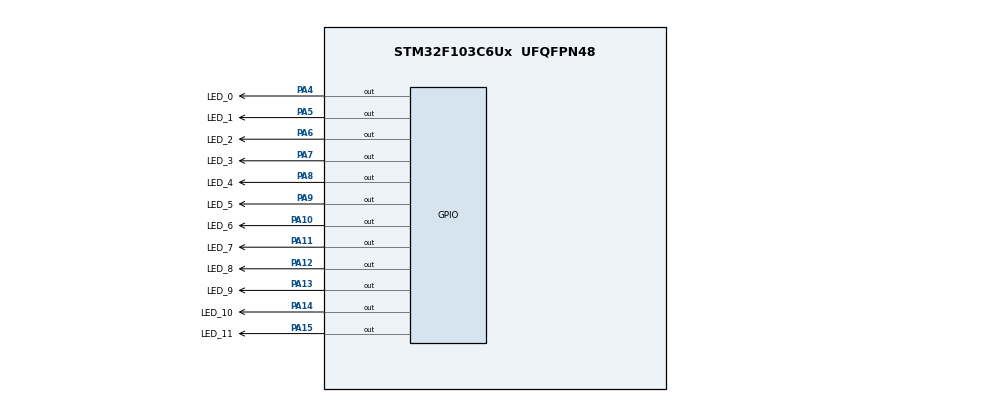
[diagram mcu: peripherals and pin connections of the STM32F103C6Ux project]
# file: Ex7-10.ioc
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Mcu.Family=STM32F1
Mcu.Name=STM32F103C6Ux
Mcu.Package=UFQFPN48
NVIC.PriorityGroup=NVIC_PRIORITYGROUP_4
PA10.GPIO_Label=LED_6
PA10.Signal=GPIO_Output
PA11.GPIO_Label=LED_7
PA11.Signal=GPIO_Output
PA12.GPIO_Label=LED_8
PA12.Signal=GPIO_Output
PA13.GPIO_Label=LED_9
PA13.Signal=GPIO_Output
PA14.GPIO_Label=LED_10
PA14.Signal=GPIO_Output
PA15.GPIO_Label=LED_11
PA15.Signal=GPIO_Output
PA4.GPIO_Label=LED_0
PA4.Signal=GPIO_Output
PA5.GPIO_Label=LED_1
PA5.Signal=GPIO_Output
PA6.GPIO_Label=LED_2
PA6.Signal=GPIO_Output
PA7.GPIO_Label=LED_3
PA7.Signal=GPIO_Output
PA8.GPIO_Label=LED_4
PA8.Signal=GPIO_Output
PA9.GPIO_Label=LED_5
PA9.Signal=GPIO_Output
ProjectManager.HeapSize=0x200
ProjectManager.StackSize=0x400
ProjectManager.TargetToolchain=STM32CubeIDE
RCC.APB1Freq_Value=8000000
RCC.APB2Freq_Value=8000000
VP_SYS_VS_ND.Mode=No_Debug
board=custom

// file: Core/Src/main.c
/* USER CODE BEGIN Header */
/**
  ******************************************************************************
  * @file           : main.c
  * @brief          : Main program body
  ******************************************************************************
  * @attention
  *
  * <h2><center>&copy; Copyright (c) 2024 STMicroelectronics.
  * All rights reserved.</center></h2>
  *
  * This software component is licensed by ST under BSD 3-Clause license,
  * the "License"; You may not use this file except in compliance with the
  * License. You may obtain a copy of the License at:
  *                        opensource.org/licenses/BSD-3-Clause
  *
  ******************************************************************************
  */
/* USER CODE END Header */
#include "main.h"

void SystemClock_Config(void);
static void MX_GPIO_Init(void);

/* USER CODE BEGIN 0 */
void displayHour(int num){
	switch(num){
	case 0:
		HAL_GPIO_WritePin(LED_0_GPIO_Port, LED_0_Pin, GPIO_PIN_RESET);
		HAL_GPIO_WritePin(LED_1_GPIO_Port, LED_1_Pin, GPIO_PIN_SET);
		HAL_GPIO_WritePin(LED_2_GPIO_Port, LED_2_Pin, GPIO_PIN_SET);
		HAL_GPIO_WritePin(LED_3_GPIO_Port, LED_3_Pin, GPIO_PIN_SET);
		HAL_GPIO_WritePin(LED_4_GPIO_Port, LED_4_Pin, GPIO_PIN_SET);
		HAL_GPIO_WritePin(LED_5_GPIO_Port, LED_5_Pin, GPIO_PIN_SET);
		HAL_GPIO_WritePin(LED_6_GPIO_Port, LED_6_Pin, GPIO_PIN_SET);
		HAL_GPIO_WritePin(LED_7_GPIO_Port, LED_7_Pin, GPIO_PIN_SET);
		HAL_GPIO_WritePin(LED_8_GPIO_Port, LED_8_Pin, GPIO_PIN_SET);
		HAL_GPIO_WritePin(LED_9_GPIO_Port, LED_9_Pin, GPIO_PIN_SET);
		HAL_GPIO_WritePin(LED_10_GPIO_Port, LED_10_Pin, GPIO_PIN_SET);
		HAL_GPIO_WritePin(LED_11_GPIO_Port, LED_11_Pin, GPIO_PIN_SET);
		break;
	case 1:
		HAL_GPIO_WritePin(LED_0_GPIO_Port, LED_0_Pin, GPIO_PIN_SET);
		HAL_GPIO_WritePin(LED_1_GPIO_Port, LED_1_Pin, GPIO_PIN_RESET);
		HAL_GPIO_WritePin(LED_2_GPIO_Port, LED_2_Pin, GPIO_PIN_SET);
		HAL_GPIO_WritePin(LED_3_GPIO_Port, LED_3_Pin, GPIO_PIN_SET);
		HAL_GPIO_WritePin(LED_4_GPIO_Port, LED_4_Pin, GPIO_PIN_SET);
		HAL_GPIO_WritePin(LED_5_GPIO_Port, LED_5_Pin, GPIO_PIN_SET);
		HAL_GPIO_WritePin(LED_6_GPIO_Port, LED_6_Pin, GPIO_PIN_SET);
		HAL_GPIO_WritePin(LED_7_GPIO_Port, LED_7_Pin, GPIO_PIN_SET);
		HAL_GPIO_WritePin(LED_8_GPIO_Port, LED_8_Pin, GPIO_PIN_SET);
		HAL_GPIO_WritePin(LED_9_GPIO_Port, LED_9_Pin, GPIO_PIN_SET);
		HAL_GPIO_WritePin(LED_10_GPIO_Port, LED_10_Pin, GPIO_PIN_SET);
		HAL_GPIO_WritePin(LED_11_GPIO_Port, LED_11_Pin, GPIO_PIN_SET);
		break;
	case 2:
		HAL_GPIO_WritePin(LED_0_GPIO_Port, LED_0_Pin, GPIO_PIN_SET);
		HAL_GPIO_WritePin(LED_1_GPIO_Port, LED_1_Pin, GPIO_PIN_SET);
		HAL_GPIO_WritePin(LED_2_GPIO_Port, LED_2_Pin, GPIO_PIN_RESET);
		HAL_GPIO_WritePin(LED_3_GPIO_Port, LED_3_Pin, GPIO_PIN_SET);
		HAL_GPIO_WritePin(LED_4_GPIO_Port, LED_4_Pin, GPIO_PIN_SET);
		HAL_GPIO_WritePin(LED_5_GPIO_Port, LED_5_Pin, GPIO_PIN_SET);
		HAL_GPIO_WritePin(LED_6_GPIO_Port, LED_6_Pin, GPIO_PIN_SET);
		HAL_GPIO_WritePin(LED_7_GPIO_Port, LED_7_Pin, GPIO_PIN_SET);
		HAL_GPIO_WritePin(LED_8_GPIO_Port, LED_8_Pin, GPIO_PIN_SET);
		HAL_GPIO_WritePin(LED_9_GPIO_Port, LED_9_Pin, GPIO_PIN_SET);
		HAL_GPIO_WritePin(LED_10_GPIO_Port, LED_10_Pin, GPIO_PIN_SET);
		HAL_GPIO_WritePin(LED_11_GPIO_Port, LED_11_Pin, GPIO_PIN_SET);
		break;
	case 3:
		HAL_GPIO_WritePin(LED_0_GPIO_Port, LED_0_Pin, GPIO_PIN_SET);
		HAL_GPIO_WritePin(LED_1_GPIO_Port, LED_1_Pin, GPIO_PIN_SET);
		HAL_GPIO_WritePin(LED_2_GPIO_Port, LED_2_Pin, GPIO_PIN_SET);
		HAL_GPIO_WritePin(LED_3_GPIO_Port, LED_3_Pin, GPIO_PIN_RESET);
		HAL_GPIO_WritePin(LED_4_GPIO_Port, LED_4_Pin, GPIO_PIN_SET);
		HAL_GPIO_WritePin(LED_5_GPIO_Port, LED_5_Pin, GPIO_PIN_SET);
		HAL_GPIO_WritePin(LED_6_GPIO_Port, LED_6_Pin, GPIO_PIN_SET);
		HAL_GPIO_WritePin(LED_7_GPIO_Port, LED_7_Pin, GPIO_PIN_SET);
		HAL_GPIO_WritePin(LED_8_GPIO_Port, LED_8_Pin, GPIO_PIN_SET);
		HAL_GPIO_WritePin(LED_9_GPIO_Port, LED_9_Pin, GPIO_PIN_SET);
		HAL_GPIO_WritePin(LED_10_GPIO_Port, LED_10_Pin, GPIO_PIN_SET);
		HAL_GPIO_WritePin(LED_11_GPIO_Port, LED_11_Pin, GPIO_PIN_SET);
		break;
	case 4:
		HAL_GPIO_WritePin(LED_0_GPIO_Port, LED_0_Pin, GPIO_PIN_SET);
		HAL_GPIO_WritePin(LED_1_GPIO_Port, LED_1_Pin, GPIO_PIN_SET);
		HAL_GPIO_WritePin(LED_2_GPIO_Port, LED_2_Pin, GPIO_PIN_SET);
		HAL_GPIO_WritePin(LED_3_GPIO_Port, LED_3_Pin, GPIO_PIN_SET);
		HAL_GPIO_WritePin(LED_4_GPIO_Port, LED_4_Pin, GPIO_PIN_RESET);
		HAL_GPIO_WritePin(LED_5_GPIO_Port, LED_5_Pin, GPIO_PIN_SET);
		HAL_GPIO_WritePin(LED_6_GPIO_Port, LED_6_Pin, GPIO_PIN_SET);
		HAL_GPIO_WritePin(LED_7_GPIO_Port, LED_7_Pin, GPIO_PIN_SET);
		HAL_GPIO_WritePin(LED_8_GPIO_Port, LED_8_Pin, GPIO_PIN_SET);
		HAL_GPIO_WritePin(LED_9_GPIO_Port, LED_9_Pin, GPIO_PIN_SET);
		HAL_GPIO_WritePin(LED_10_GPIO_Port, LED_10_Pin, GPIO_PIN_SET);
		HAL_GPIO_WritePin(LED_11_GPIO_Port, LED_11_Pin, GPIO_PIN_SET);
		break;
	case 5:
		HAL_GPIO_WritePin(LED_0_GPIO_Port, LED_0_Pin, GPIO_PIN_SET);
		HAL_GPIO_WritePin(LED_1_GPIO_Port, LED_1_Pin, GPIO_PIN_SET);
		HAL_GPIO_WritePin(LED_2_GPIO_Port, LED_2_Pin, GPIO_PIN_SET);
		HAL_GPIO_WritePin(LED_3_GPIO_Port, LED_3_Pin, GPIO_PIN_SET);
		HAL_GPIO_WritePin(LED_4_GPIO_Port, LED_4_Pin, GPIO_PIN_SET);
		HAL_GPIO_WritePin(LED_5_GPIO_Port, LED_5_Pin, GPIO_PIN_RESET);
		HAL_GPIO_WritePin(LED_6_GPIO_Port, LED_6_Pin, GPIO_PIN_SET);
		HAL_GPIO_WritePin(LED_7_GPIO_Port, LED_7_Pin, GPIO_PIN_SET);
		HAL_GPIO_WritePin(LED_8_GPIO_Port, LED_8_Pin, GPIO_PIN_SET);
		HAL_GPIO_WritePin(LED_9_GPIO_Port, LED_9_Pin, GPIO_PIN_SET);
		HAL_GPIO_WritePin(LED_10_GPIO_Port, LED_10_Pin, GPIO_PIN_SET);
		HAL_GPIO_WritePin(LED_11_GPIO_Port, LED_11_Pin, GPIO_PIN_SET);
		break;
	case 6:
		HAL_GPIO_WritePin(LED_0_GPIO_Port, LED_0_Pin, GPIO_PIN_SET);
		HAL_GPIO_WritePin(LED_1_GPIO_Port, LED_1_Pin, GPIO_PIN_SET);
		HAL_GPIO_WritePin(LED_2_GPIO_Port, LED_2_Pin, GPIO_PIN_SET);
		HAL_GPIO_WritePin(LED_3_GPIO_Port, LED_3_Pin, GPIO_PIN_SET);
		HAL_GPIO_WritePin(LED_4_GPIO_Port, LED_4_Pin, GPIO_PIN_SET);
		HAL_GPIO_WritePin(LED_5_GPIO_Port, LED_5_Pin, GPIO_PIN_SET);
		HAL_GPIO_WritePin(LED_6_GPIO_Port, LED_6_Pin, GPIO_PIN_RESET);
		HAL_GPIO_WritePin(LED_7_GPIO_Port, LED_7_Pin, GPIO_PIN_SET);
		HAL_GPIO_WritePin(LED_8_GPIO_Port, LED_8_Pin, GPIO_PIN_SET);
		HAL_GPIO_WritePin(LED_9_GPIO_Port, LED_9_Pin, GPIO_PIN_SET);
		HAL_GPIO_WritePin(LED_10_GPIO_Port, LED_10_Pin, GPIO_PIN_SET);
		HAL_GPIO_WritePin(LED_11_GPIO_Port, LED_11_Pin, GPIO_PIN_SET);
		break;
	case 7:
		HAL_GPIO_WritePin(LED_0_GPIO_Port, LED_0_Pin, GPIO_PIN_SET);
		HAL_GPIO_WritePin(LED_1_GPIO_Port, LED_1_Pin, GPIO_PIN_SET);
		HAL_GPIO_WritePin(LED_2_GPIO_Port, LED_2_Pin, GPIO_PIN_SET);
		HAL_GPIO_WritePin(LED_3_GPIO_Port, LED_3_Pin, GPIO_PIN_SET);
		HAL_GPIO_WritePin(LED_4_GPIO_Port, LED_4_Pin, GPIO_PIN_SET);
		HAL_GPIO_WritePin(LED_5_GPIO_Port, LED_5_Pin, GPIO_PIN_SET);
		HAL_GPIO_WritePin(LED_6_GPIO_Port, LED_6_Pin, GPIO_PIN_SET);
		HAL_GPIO_WritePin(LED_7_GPIO_Port, LED_7_Pin, GPIO_PIN_RESET);
		HAL_GPIO_WritePin(LED_8_GPIO_Port, LED_8_Pin, GPIO_PIN_SET);
		HAL_GPIO_WritePin(LED_9_GPIO_Port, LED_9_Pin, GPIO_PIN_SET);
		HAL_GPIO_WritePin(LED_10_GPIO_Port, LED_10_Pin, GPIO_PIN_SET);
		HAL_GPIO_WritePin(LED_11_GPIO_Port, LED_11_Pin, GPIO_PIN_SET);
		break;
	case 8:
		HAL_GPIO_WritePin(LED_0_GPIO_Port, LED_0_Pin, GPIO_PIN_SET);
		HAL_GPIO_WritePin(LED_1_GPIO_Port, LED_1_Pin, GPIO_PIN_SET);
		HAL_GPIO_WritePin(LED_2_GPIO_Port, LED_2_Pin, GPIO_PIN_SET);
		HAL_GPIO_WritePin(LED_3_GPIO_Port, LED_3_Pin, GPIO_PIN_SET);
		HAL_GPIO_WritePin(LED_4_GPIO_Port, LED_4_Pin, GPIO_PIN_SET);
		HAL_GPIO_WritePin(LED_5_GPIO_Port, LED_5_Pin, GPIO_PIN_SET);
		HAL_GPIO_WritePin(LED_6_GPIO_Port, LED_6_Pin, GPIO_PIN_SET);
		HAL_GPIO_WritePin(LED_7_GPIO_Port, LED_7_Pin, GPIO_PIN_SET);
		HAL_GPIO_WritePin(LED_8_GPIO_Port, LED_8_Pin, GPIO_PIN_RESET);
		HAL_GPIO_WritePin(LED_9_GPIO_Port, LED_9_Pin, GPIO_PIN_SET);
		HAL_GPIO_WritePin(LED_10_GPIO_Port, LED_10_Pin, GPIO_PIN_SET);
		HAL_GPIO_WritePin(LED_11_GPIO_Port, LED_11_Pin, GPIO_PIN_SET);
		break;
	case 9:
		HAL_GPIO_WritePin(LED_0_GPIO_Port, LED_0_Pin, GPIO_PIN_SET);
		HAL_GPIO_WritePin(LED_1_GPIO_Port, LED_1_Pin, GPIO_PIN_SET);
		HAL_GPIO_WritePin(LED_2_GPIO_Port, LED_2_Pin, GPIO_PIN_SET);
		HAL_GPIO_WritePin(LED_3_GPIO_Port, LED_3_Pin, GPIO_PIN_SET);
		HAL_GPIO_WritePin(LED_4_GPIO_Port, LED_4_Pin, GPIO_PIN_SET);
		HAL_GPIO_WritePin(LED_5_GPIO_Port, LED_5_Pin, GPIO_PIN_SET);
		HAL_GPIO_WritePin(LED_6_GPIO_Port, LED_6_Pin, GPIO_PIN_SET);
		HAL_GPIO_WritePin(LED_7_GPIO_Port, LED_7_Pin, GPIO_PIN_SET);
		HAL_GPIO_WritePin(LED_8_GPIO_Port, LED_8_Pin, GPIO_PIN_SET);
		HAL_GPIO_WritePin(LED_9_GPIO_Port, LED_9_Pin, GPIO_PIN_RESET);
		HAL_GPIO_WritePin(LED_10_GPIO_Port, LED_10_Pin, GPIO_PIN_SET);
		HAL_GPIO_WritePin(LED_11_GPIO_Port, LED_11_Pin, GPIO_PIN_SET);
		break;
	case 10:
		HAL_GPIO_WritePin(LED_0_GPIO_Port, LED_0_Pin, GPIO_PIN_SET);
		HAL_GPIO_WritePin(LED_1_GPIO_Port, LED_1_Pin, GPIO_PIN_SET);
		HAL_GPIO_WritePin(LED_2_GPIO_Port, LED_2_Pin, GPIO_PIN_SET);
		HAL_GPIO_WritePin(LED_3_GPIO_Port, LED_3_Pin, GPIO_PIN_SET);
		HAL_GPIO_WritePin(LED_4_GPIO_Port, LED_4_Pin, GPIO_PIN_SET);
		HAL_GPIO_WritePin(LED_5_GPIO_Port, LED_5_Pin, GPIO_PIN_SET);
		HAL_GPIO_WritePin(LED_6_GPIO_Port, LED_6_Pin, GPIO_PIN_SET);
		HAL_GPIO_WritePin(LED_7_GPIO_Port, LED_7_Pin, GPIO_PIN_SET);
		HAL_GPIO_WritePin(LED_8_GPIO_Port, LED_8_Pin, GPIO_PIN_SET);
		HAL_GPIO_WritePin(LED_9_GPIO_Port, LED_9_Pin, GPIO_PIN_SET);
		HAL_GPIO_WritePin(LED_10_GPIO_Port, LED_10_Pin, GPIO_PIN_RESET);
		HAL_GPIO_WritePin(LED_11_GPIO_Port, LED_11_Pin, GPIO_PIN_SET);
		break;
	case 11:
		HAL_GPIO_WritePin(LED_0_GPIO_Port, LED_0_Pin, GPIO_PIN_SET);
		HAL_GPIO_WritePin(LED_1_GPIO_Port, LED_1_Pin, GPIO_PIN_SET);
		HAL_GPIO_WritePin(LED_2_GPIO_Port, LED_2_Pin, GPIO_PIN_SET);
		HAL_GPIO_WritePin(LED_3_GPIO_Port, LED_3_Pin, GPIO_PIN_SET);
		HAL_GPIO_WritePin(LED_4_GPIO_Port, LED_4_Pin, GPIO_PIN_SET);
		HAL_GPIO_WritePin(LED_5_GPIO_Port, LED_5_Pin, GPIO_PIN_SET);
		HAL_GPIO_WritePin(LED_6_GPIO_Port, LED_6_Pin, GPIO_PIN_SET);
		HAL_GPIO_WritePin(LED_7_GPIO_Port, LED_7_Pin, GPIO_PIN_SET);
		HAL_GPIO_WritePin(LED_8_GPIO_Port, LED_8_Pin, GPIO_PIN_SET);
		HAL_GPIO_WritePin(LED_9_GPIO_Port, LED_9_Pin, GPIO_PIN_SET);
		HAL_GPIO_WritePin(LED_10_GPIO_Port, LED_10_Pin, GPIO_PIN_SET);
		HAL_GPIO_WritePin(LED_11_GPIO_Port, LED_11_Pin, GPIO_PIN_RESET);
		break;
	}
}

void clearAllClock(){
	HAL_GPIO_WritePin(LED_0_GPIO_Port, LED_0_Pin, GPIO_PIN_SET);
	HAL_GPIO_WritePin(LED_1_GPIO_Port, LED_1_Pin, GPIO_PIN_SET);
	HAL_GPIO_WritePin(LED_2_GPIO_Port, LED_2_Pin, GPIO_PIN_SET);
	HAL_GPIO_WritePin(LED_3_GPIO_Port, LED_3_Pin, GPIO_PIN_SET);
	HAL_GPIO_WritePin(LED_4_GPIO_Port, LED_4_Pin, GPIO_PIN_SET);
	HAL_GPIO_WritePin(LED_5_GPIO_Port, LED_5_Pin, GPIO_PIN_SET);
	HAL_GPIO_WritePin(LED_6_GPIO_Port, LED_6_Pin, GPIO_PIN_SET);
	HAL_GPIO_WritePin(LED_7_GPIO_Port, LED_7_Pin, GPIO_PIN_SET);
	HAL_GPIO_WritePin(LED_8_GPIO_Port, LED_8_Pin, GPIO_PIN_SET);
	HAL_GPIO_WritePin(LED_9_GPIO_Port, LED_9_Pin, GPIO_PIN_SET);
	HAL_GPIO_WritePin(LED_10_GPIO_Port, LED_10_Pin, GPIO_PIN_SET);
	HAL_GPIO_WritePin(LED_11_GPIO_Port, LED_11_Pin, GPIO_PIN_SET);
}

void setNumberOnClock(int num){
    switch(num) {
        case 0:
        case 12:
            if(HAL_GPIO_ReadPin(LED_0_GPIO_Port, LED_0_Pin) == GPIO_PIN_SET) {
                HAL_GPIO_TogglePin(LED_0_GPIO_Port, LED_0_Pin);
            }
            break;
        case 1:
            if(HAL_GPIO_ReadPin(LED_1_GPIO_Port, LED_1_Pin) == GPIO_PIN_SET) {
                HAL_GPIO_TogglePin(LED_1_GPIO_Port, LED_1_Pin);
            }
            break;
        case 2:
            if(HAL_GPIO_ReadPin(LED_2_GPIO_Port, LED_2_Pin) == GPIO_PIN_SET) {
                HAL_GPIO_TogglePin(LED_2_GPIO_Port, LED_2_Pin);
            }
            break;
        case 3:
            if(HAL_GPIO_ReadPin(LED_3_GPIO_Port, LED_3_Pin) == GPIO_PIN_SET) {
                HAL_GPIO_TogglePin(LED_3_GPIO_Port, LED_3_Pin);
            }
            break;
        case 4:
            if(HAL_GPIO_ReadPin(LED_4_GPIO_Port, LED_4_Pin) == GPIO_PIN_SET) {
                HAL_GPIO_TogglePin(LED_4_GPIO_Port, LED_4_Pin);
            }
            break;
        case 5:
            if(HAL_GPIO_ReadPin(LED_5_GPIO_Port, LED_5_Pin) == GPIO_PIN_SET) {
                HAL_GPIO_TogglePin(LED_5_GPIO_Port, LED_5_Pin);
            }
            break;
        case 6:
            if(HAL_GPIO_ReadPin(LED_6_GPIO_Port, LED_6_Pin) == GPIO_PIN_SET) {
                HAL_GPIO_TogglePin(LED_6_GPIO_Port, LED_6_Pin);
            }
            break;
        case 7:
            if(HAL_GPIO_ReadPin(LED_7_GPIO_Port, LED_7_Pin) == GPIO_PIN_SET) {
                HAL_GPIO_TogglePin(LED_7_GPIO_Port, LED_7_Pin);
            }
            break;
        case 8:
            if(HAL_GPIO_ReadPin(LED_8_GPIO_Port, LED_8_Pin) == GPIO_PIN_SET) {
                HAL_GPIO_TogglePin(LED_8_GPIO_Port, LED_8_Pin);
            }
            break;
        case 9:
            if(HAL_GPIO_ReadPin(LED_9_GPIO_Port, LED_9_Pin) == GPIO_PIN_SET) {
                HAL_GPIO_TogglePin(LED_9_GPIO_Port, LED_9_Pin);
            }
            break;
        case 10:
            if(HAL_GPIO_ReadPin(LED_10_GPIO_Port, LED_10_Pin) == GPIO_PIN_SET) {
                HAL_GPIO_TogglePin(LED_10_GPIO_Port, LED_10_Pin);
            }
            break;
        case 11:
            if(HAL_GPIO_ReadPin(LED_11_GPIO_Port, LED_11_Pin) == GPIO_PIN_SET) {
                HAL_GPIO_TogglePin(LED_11_GPIO_Port, LED_11_Pin);
            }
            break;
    }
}

void clearNumberOnClock(int num){
    switch(num) {
        case 0:
        case 12:
            if(HAL_GPIO_ReadPin(LED_0_GPIO_Port, LED_0_Pin) == GPIO_PIN_RESET) {
                HAL_GPIO_TogglePin(LED_0_GPIO_Port, LED_0_Pin);
            }
            break;
        case 1:
            if(HAL_GPIO_ReadPin(LED_1_GPIO_Port, LED_1_Pin) == GPIO_PIN_RESET) {
                HAL_GPIO_TogglePin(LED_1_GPIO_Port, LED_1_Pin);
            }
            break;
        case 2:
            if(HAL_GPIO_ReadPin(LED_2_GPIO_Port, LED_2_Pin) == GPIO_PIN_RESET) {
                HAL_GPIO_TogglePin(LED_2_GPIO_Port, LED_2_Pin);
            }
            break;
        case 3:
            if(HAL_GPIO_ReadPin(LED_3_GPIO_Port, LED_3_Pin) == GPIO_PIN_RESET) {
                HAL_GPIO_TogglePin(LED_3_GPIO_Port, LED_3_Pin);
            }
            break;
        case 4:
            if(HAL_GPIO_ReadPin(LED_4_GPIO_Port, LED_4_Pin) == GPIO_PIN_RESET) {
                HAL_GPIO_TogglePin(LED_4_GPIO_Port, LED_4_Pin);
            }
            break;
        case 5:
            if(HAL_GPIO_ReadPin(LED_5_GPIO_Port, LED_5_Pin) == GPIO_PIN_RESET) {
                HAL_GPIO_TogglePin(LED_5_GPIO_Port, LED_5_Pin);
            }
            break;
        case 6:
            if(HAL_GPIO_ReadPin(LED_6_GPIO_Port, LED_6_Pin) == GPIO_PIN_RESET) {
                HAL_GPIO_TogglePin(LED_6_GPIO_Port, LED_6_Pin);
            }
            break;
        case 7:
            if(HAL_GPIO_ReadPin(LED_7_GPIO_Port, LED_7_Pin) == GPIO_PIN_RESET) {
                HAL_GPIO_TogglePin(LED_7_GPIO_Port, LED_7_Pin);
            }
            break;
        case 8:
            if(HAL_GPIO_ReadPin(LED_8_GPIO_Port, LED_8_Pin) == GPIO_PIN_RESET) {
                HAL_GPIO_TogglePin(LED_8_GPIO_Port, LED_8_Pin);
            }
            break;
        case 9:
            if(HAL_GPIO_ReadPin(LED_9_GPIO_Port, LED_9_Pin) == GPIO_PIN_RESET) {
                HAL_GPIO_TogglePin(LED_9_GPIO_Port, LED_9_Pin);
            }
            break;
        case 10:
            if(HAL_GPIO_ReadPin(LED_10_GPIO_Port, LED_10_Pin) == GPIO_PIN_RESET) {
                HAL_GPIO_TogglePin(LED_10_GPIO_Port, LED_10_Pin);
            }
            break;
        case 11:
            if(HAL_GPIO_ReadPin(LED_11_GPIO_Port, LED_11_Pin) == GPIO_PIN_RESET) {
                HAL_GPIO_TogglePin(LED_11_GPIO_Port, LED_11_Pin);
            }
            break;
    }
}
/* USER CODE END 0 */

int main(void)
{

  /* MCU Configuration--------------------------------------------------------*/

  /* Reset of all peripherals, Initializes the Flash interface and the Systick. */
  HAL_Init();

  /* Configure the system clock */
  SystemClock_Config();

  /* Initialize all configured peripherals */
  MX_GPIO_Init();

  /* Infinite loop */
  /* USER CODE BEGIN WHILE */
  int time = 0 ;
  int hour = time /3600 ;
  int minute = ( time %3600 ) /60 + 58;
  int second_on_clock = time / 5 ;
  int minute_on_clock = minute /5;
  int pre_hour = hour ;
  int first = 1 ;
  while (1)
  {
    /* USER CODE END WHILE */
		// turn on all of led when begin
		if(first == 1) {
			first++;
		}
		// turn off all of led
		else if(first >= 2){
			clearAllClock();
			first = 0 ;
		}
		//start
		else{
			// Calculate hour, minute, time(second)
			if(hour >= 12) hour = 0 ;
			if(minute >= 60 ){
				minute = 0 ;
				pre_hour = hour;
				hour++;
			}
			if(time >= 60){
			    time = 0 ;
			    minute++;
			}
			// turn off the previous led of second
			if(second_on_clock != time /5 && second_on_clock != minute/5 && second_on_clock != hour)
						clearNumberOnClock(second_on_clock) ;
			// turn off the previous led of minute
			if(minute_on_clock != minute /5 && minute_on_clock != time/5 && minute_on_clock != hour){
						clearNumberOnClock(minute_on_clock);
			}
			if(hour != pre_hour &&  minute/5 != pre_hour && time/5 != pre_hour )
						clearNumberOnClock(pre_hour);
			minute_on_clock = minute/5 ;
			second_on_clock = time/5 ;
			setNumberOnClock(hour);
		    setNumberOnClock(minute_on_clock);
			setNumberOnClock(second_on_clock);
		}

		time  = time + 1;

		HAL_Delay(1000);
  }
}

void SystemClock_Config(void)
{
  RCC_OscInitTypeDef RCC_OscInitStruct = {0};
  RCC_ClkInitTypeDef RCC_ClkInitStruct = {0};

  /** Initializes the RCC Oscillators according to the specified parameters
  * in the RCC_OscInitTypeDef structure.
  */
  RCC_OscInitStruct.OscillatorType = RCC_OSCILLATORTYPE_HSI;
  RCC_OscInitStruct.HSIState = RCC_HSI_ON;
  RCC_OscInitStruct.HSICalibrationValue = RCC_HSICALIBRATION_DEFAULT;
  RCC_OscInitStruct.PLL.PLLState = RCC_PLL_NONE;
  if (HAL_RCC_OscConfig(&RCC_OscInitStruct) != HAL_OK)
  {
    Error_Handler();
  }
  /** Initializes the CPU, AHB and APB buses clocks
  */
  RCC_ClkInitStruct.ClockType = RCC_CLOCKTYPE_HCLK|RCC_CLOCKTYPE_SYSCLK
                              |RCC_CLOCKTYPE_PCLK1|RCC_CLOCKTYPE_PCLK2;
  RCC_ClkInitStruct.SYSCLKSource = RCC_SYSCLKSOURCE_HSI;
  RCC_ClkInitStruct.AHBCLKDivider = RCC_SYSCLK_DIV1;
  RCC_ClkInitStruct.APB1CLKDivider = RCC_HCLK_DIV1;
  RCC_ClkInitStruct.APB2CLKDivider = RCC_HCLK_DIV1;

  if (HAL_RCC_ClockConfig(&RCC_ClkInitStruct, FLASH_LATENCY_0) != HAL_OK)
  {
    Error_Handler();
  }
}

static void MX_GPIO_Init(void)
{
  GPIO_InitTypeDef GPIO_InitStruct = {0};

  /* GPIO Ports Clock Enable */
  __HAL_RCC_GPIOA_CLK_ENABLE();

  /*Configure GPIO pin Output Level */
  HAL_GPIO_WritePin(GPIOA, LED_0_Pin|LED_1_Pin|LED_2_Pin|LED_3_Pin
                          |LED_4_Pin|LED_5_Pin|LED_6_Pin|LED_7_Pin
                          |LED_8_Pin|LED_9_Pin|LED_10_Pin|LED_11_Pin, GPIO_PIN_RESET);

  /*Configure GPIO pins : LED_0_Pin LED_1_Pin LED_2_Pin LED_3_Pin
                           LED_4_Pin LED_5_Pin LED_6_Pin LED_7_Pin
                           LED_8_Pin LED_9_Pin LED_10_Pin LED_11_Pin */
  GPIO_InitStruct.Pin = LED_0_Pin|LED_1_Pin|LED_2_Pin|LED_3_Pin
                          |LED_4_Pin|LED_5_Pin|LED_6_Pin|LED_7_Pin
                          |LED_8_Pin|LED_9_Pin|LED_10_Pin|LED_11_Pin;
  GPIO_InitStruct.Mode = GPIO_MODE_OUTPUT_PP;
  GPIO_InitStruct.Pull = GPIO_NOPULL;
  GPIO_InitStruct.Speed = GPIO_SPEED_FREQ_LOW;
  HAL_GPIO_Init(GPIOA, &GPIO_InitStruct);

}

void Error_Handler(void)
{
  __disable_irq();
  while (1)
  {
  }
}

/************************ (C) COPYRIGHT STMicroelectronics *****END OF FILE****/
